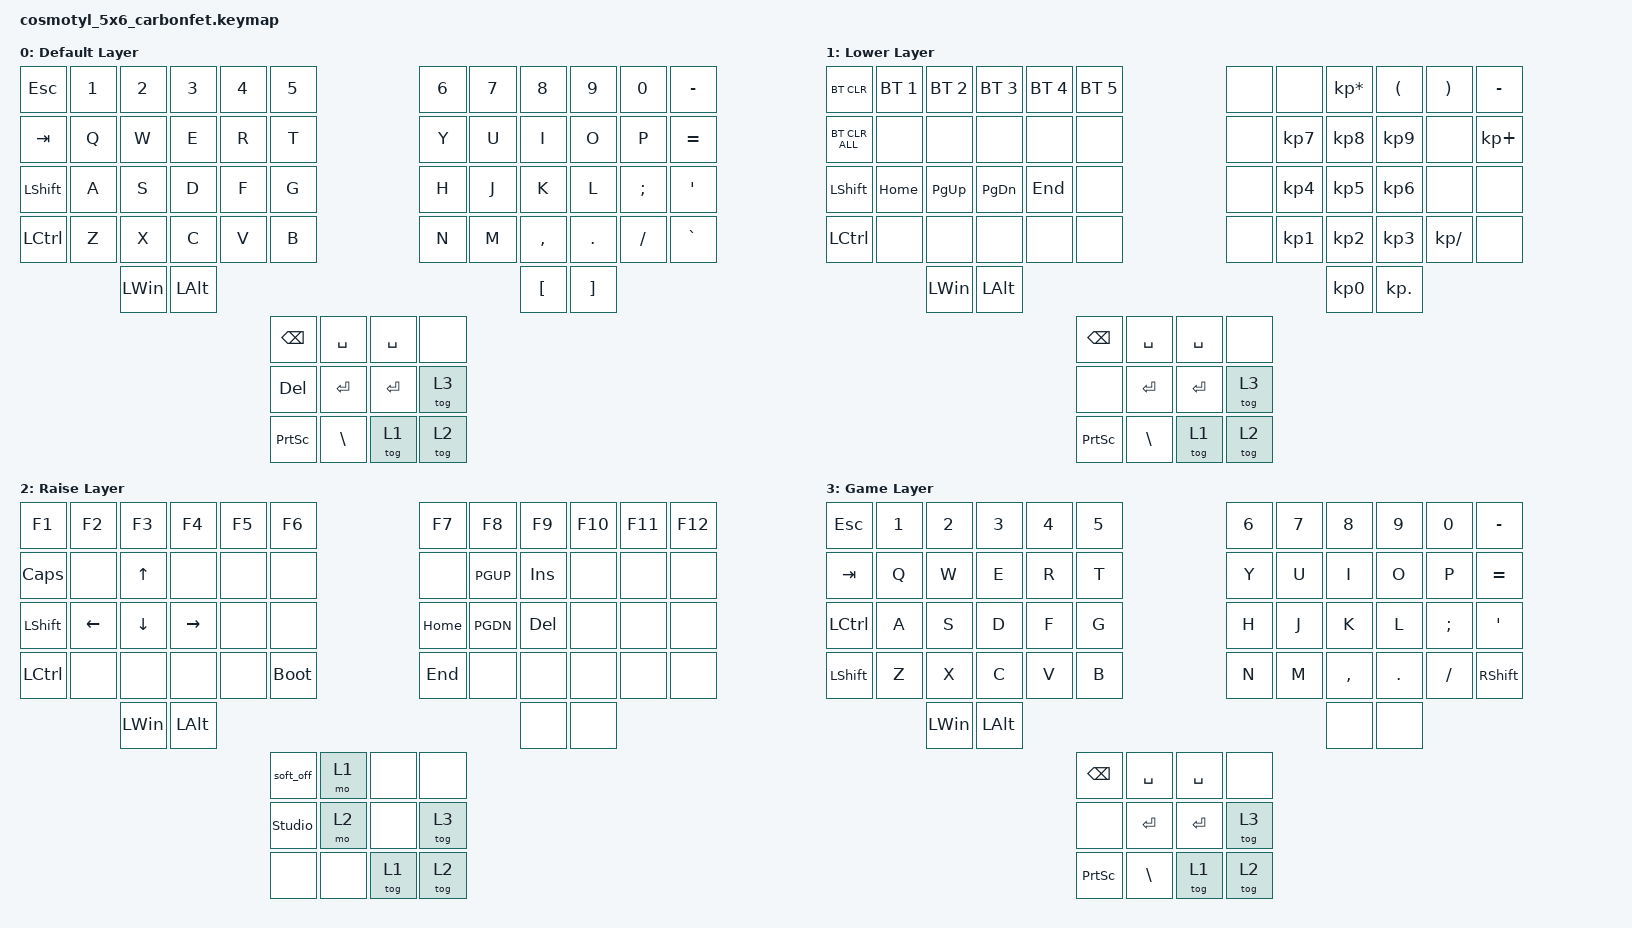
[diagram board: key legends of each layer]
/*
 * Copyright (c) 2020 The ZMK Contributors
 *
 * SPDX-License-Identifier: MIT
 */

#include <behaviors.dtsi>
#include <dt-bindings/zmk/keys.h>
#include <dt-bindings/zmk/bt.h>

&soft_off {
    hold-time-ms = <2000>; // Only turn off it the key is held for 5 seconds or longer.
};

/ {









        keymap {
                compatible = "zmk,keymap";

                default_layer {
                        display-name = "Default Layer";
                        bindings = <
                                &kp ESC         &kp N1          &kp N2          &kp N3          &kp N4          &kp N5                                                  &kp N6     &kp N7               &kp N8             &kp N9            &kp N0          &kp MINUS
                                &kp TAB         &kp Q           &kp W           &kp E           &kp R           &kp T                                                   &kp Y      &kp U                &kp I              &kp O             &kp P           &kp EQUAL
                                &kp LSHFT       &kp A           &kp S           &kp D           &kp F           &kp G                                                   &kp H      &kp J                &kp K              &kp L             &kp SEMI        &kp SQT
                                &kp LCTRL       &kp Z           &kp X           &kp C           &kp V           &kp B                                                   &kp N      &kp M                &kp COMMA          &kp DOT           &kp SLASH       &kp GRAVE
                                                                &kp LWIN        &kp LALT                                                                                                                &kp LBKT           &kp RBKT
                                                                                                                &kp BACKSPACE     &kp SPACE               &kp SPACE     &none
                                                                                                                &kp DEL           &kp RET                 &kp RET       &tog 3
                                                                                                                &kp PSCRN         &kp BSLH                &tog 1        &tog 2
                                        >;
                                };

                Lower_layer {
                        display-name = "Lower Layer";
                        bindings = <
                                &bt BT_CLR     &bt BT_SEL 1    &bt BT_SEL 2     &bt BT_SEL 3  	&bt BT_SEL 4     &bt BT_SEL 5                    	                    &none      &none 	            &kp KP_ASTERISK    &kp LPAR          &kp RPAR        &kp MINUS 
                                &bt BT_CLR_ALL &none           &none            &none 	        &none            &none                         	                        &none      &kp KP_NUMBER_7      &kp KP_NUMBER_8    &kp KP_NUMBER_9   &none           &kp KP_PLUS  
                                &kp LSHFT      &kp HOME        &kp PG_UP        &kp PG_DN       &kp END          &none                                                  &none      &kp KP_NUMBER_4      &kp KP_NUMBER_5    &kp KP_NUMBER_6   &none           &none  
                                &kp LCTRL      &none           &none            &none 	        &none            &none                        		                    &none 	   &kp KP_NUMBER_1      &kp KP_NUMBER_2    &kp KP_NUMBER_3   &kp KP_SLASH    &none  
                                                               &kp LWIN         &kp LALT            							                                                                        &kp KP_NUMBER_0    &kp KP_DOT 
                                                                                                                 &kp BACKSPACE    &kp SPACE               &kp SPACE     &none
                                                                                                                 &none            &kp RET                 &kp RET       &tog 3
                                                                                                                 &kp PSCRN        &kp BSLH                &tog 1        &tog 2
                                        >;
                                };

                Raise_layer {
                        display-name = "Raise Layer"; 
                        bindings = <
                                &kp F1 	        &kp F2          &kp F3    	    &kp F4          &kp F5          &kp F6                   		                        &kp F7     &kp F8               &kp F9             &kp F10            &kp F11        &kp F12 
                                &kp CAPS        &none           &kp UP          &none           &none           &none                    		                        &none      &kp PGUP             &kp INS            &none              &none          &none
                                &kp LSHFT       &kp LEFT        &kp DOWN  	    &kp RIGHT       &none           &none                    		                        &kp HOME   &kp PGDN             &kp DEL            &none              &none          &none
                                &kp LCTRL       &none           &none     	    &none           &none           &bootloader				                                &kp END    &none                &none              &none              &none          &none
                                                                &kp LWIN        &kp LALT             			                  	                                                                    &none              &none
                                                                                                                &soft_off         &mo 1 	              &none         &none 
                                                                                                                &studio_unlock 	  &mo 2      	          &none         &tog 3 
                                                                                                                &none             &none                   &tog 1        &tog 2		
                                        >;		

                                 };

                Game_layer {
                        display-name = "Game Layer"; 
                        bindings = <
                                &kp ESC         &kp N1          &kp N2          &kp N3          &kp N4          &kp N5                                                  &kp N6     &kp N7               &kp N8            &kp N9              &kp N0         &kp MINUS 
                                &kp TAB         &kp Q           &kp W           &kp E           &kp R           &kp T                                                   &kp Y      &kp U                &kp I             &kp O               &kp P          &kp EQUAL 
                                &kp LCTRL       &kp A           &kp S           &kp D           &kp F           &kp G                                                   &kp H      &kp J                &kp K             &kp L               &kp SEMI       &kp SQT 
                                &kp LSHFT       &kp Z           &kp X           &kp C           &kp V           &kp B                                                   &kp N      &kp M                &kp COMMA         &kp DOT             &kp SLASH      &kp RSHFT 
                                                                &kp LWIN        &kp LALT                                                        		                                                &none             &none 
                                                                                                                &kp BACKSPACE     &kp SPACE               &kp SPACE     &none
                                                                                                                &none             &kp RET                 &kp RET       &tog 3
                                                                                                                &kp PSCRN         &kp BSLH                &tog 1        &tog 2		
                                        >;	
                                };
                };










};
